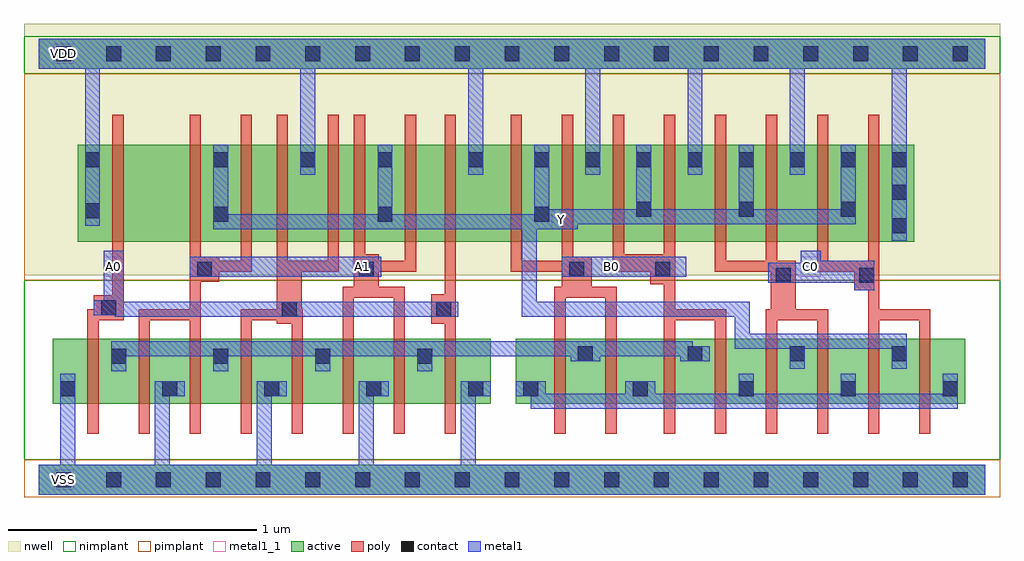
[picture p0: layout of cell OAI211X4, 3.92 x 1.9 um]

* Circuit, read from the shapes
.subckt OAI211X4 A0 A1 B0 C0 VDD VSS Y
M1 n1 A0 VSS VSS nfet w=0.26u l=0.045u m=4
M2 VSS A1 n1 VSS nfet w=0.26u l=0.045u m=4
M3 n1 B0 n2 VSS nfet w=0.26u l=0.045u m=4
M4 Y C0 n2 VSS nfet w=0.26u l=0.045u m=4
M5 n3 A0 VDD VDD pfet w=0.39u l=0.045u
M6 Y A1 n3 VDD pfet w=0.39u l=0.045u
M7 n4 A1 Y VDD pfet w=0.39u l=0.045u
M8 VDD A0 n4 VDD pfet w=0.39u l=0.045u
M9 n5 A0 VDD VDD pfet w=0.39u l=0.045u
M10 Y A1 n5 VDD pfet w=0.39u l=0.045u
M11 n6 A1 Y VDD pfet w=0.39u l=0.045u
M12 VDD A0 n6 VDD pfet w=0.39u l=0.045u
M13 Y B0 VDD VDD pfet w=0.39u l=0.045u m=4
M14 Y C0 VDD VDD pfet w=0.39u l=0.045u m=4
.ends

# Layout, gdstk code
import gdstk
lib = gdstk.Library(unit=1e-6, precision=5e-10)
def R(c, l, rs):  # rectangles x0, y0, x1, y1
    for r in rs: c.add(gdstk.rectangle(r[:2], r[2:], *l))
def A(c, l, x, y, w, h, nx, ny, dx, dy):  # array of equal rectangles
    R(c, l, [(x+i*dx, y+j*dy, x+i*dx+w, y+j*dy+h) for i in range(nx) for j in range(ny)])
def P(c, l, *ps):  # polygons
    for p in ps: c.add(gdstk.Polygon(p, *l))
active = (1, 0)
nwell = (2, 0)
poly = (3, 0)
nimplant = (4, 0)
pimplant = (5, 0)
contact = (6, 0)
metal1 = (7, 0)
metal1_1 = (7, 1)

oai211x4 = lib.new_cell('OAI211X4')
R(oai211x4, active, [(0,-0.06,3.8,0.06), (0.055,0.305,1.815,0.565), (1.915,0.305,3.72,0.565), (0.155,0.955,3.515,1.345), (0,1.65,3.8,1.77)])
R(oai211x4, nwell, [(-0.06,0.82,3.86,1.83)])
P(oai211x4, poly, [(0.295,1.465),(0.34,1.465),(0.34,0.64),(0.24,0.64),(0.24,0.185),(0.195,0.185),(0.195,0.685),(0.22,0.685),(0.22,0.74),(0.295,0.74)],
  [(0.605,1.465),(0.65,1.465),(0.65,0.895),(0.725,0.895),(0.725,0.88),(0.81,0.88),(0.81,1.465),(0.855,1.465),(0.855,0.835),(0.725,0.835),(0.725,0.795),(0.65,0.795),(0.65,0.185),(0.605,0.185),(0.605,0.64),(0.445,0.64),(0.445,0.185),(0.4,0.185),(0.4,0.685),(0.605,0.685)],
  [(0.955,1.465),(1,1.465),(1,0.88),(1.16,0.88),(1.16,1.465),(1.205,1.465),(1.205,0.835),(1.055,0.835),(1.055,0.685),(1.06,0.685),(1.06,0.185),(1.015,0.185),(1.015,0.625),(0.955,0.625),(0.955,0.64),(0.855,0.64),(0.855,0.185),(0.81,0.185),(0.81,0.685),(0.955,0.685)],
  [(1.265,1.465),(1.31,1.465),(1.31,0.905),(1.365,0.905),(1.365,0.88),(1.47,0.88),(1.47,1.465),(1.515,1.465),(1.515,0.835),(1.365,0.835),(1.365,0.775),(1.47,0.775),(1.47,0.185),(1.425,0.185),(1.425,0.73),(1.265,0.73),(1.265,0.185),(1.22,0.185),(1.22,0.775),(1.265,0.775)],
  [(1.63,1.465),(1.675,1.465),(1.675,0.185),(1.63,0.185),(1.63,0.625),(1.575,0.625),(1.575,0.745),(1.63,0.745)],
  [(1.895,1.465),(1.94,1.465),(1.94,0.88),(2.1,0.88),(2.1,1.465),(2.145,1.465),(2.145,0.895),(2.22,0.895),(2.22,0.775),(2.32,0.775),(2.32,0.185),(2.275,0.185),(2.275,0.73),(2.115,0.73),(2.115,0.185),(2.07,0.185),(2.07,0.775),(2.1,0.775),(2.1,0.835),(1.895,0.835)],
  [(2.305,1.465),(2.35,1.465),(2.35,0.905),(2.51,0.905),(2.51,1.465),(2.555,1.465),(2.555,0.685),(2.76,0.685),(2.76,0.185),(2.715,0.185),(2.715,0.64),(2.555,0.64),(2.555,0.185),(2.51,0.185),(2.51,0.785),(2.455,0.785),(2.455,0.835),(2.305,0.835)],
  [(2.715,1.465),(2.76,1.465),(2.76,0.88),(2.92,0.88),(2.92,1.465),(2.965,1.465),(2.965,0.88),(3.04,0.88),(3.04,0.685),(3.17,0.685),(3.17,0.185),(3.125,0.185),(3.125,0.64),(2.965,0.64),(2.965,0.185),(2.92,0.185),(2.92,0.685),(2.94,0.685),(2.94,0.835),(2.715,0.835)],
  [(3.125,1.465),(3.17,1.465),(3.17,0.88),(3.33,0.88),(3.33,1.465),(3.375,1.465),(3.375,0.685),(3.58,0.685),(3.58,0.185),(3.535,0.185),(3.535,0.64),(3.375,0.64),(3.375,0.185),(3.33,0.185),(3.33,0.76),(3.275,0.76),(3.275,0.835),(3.125,0.835)])
R(oai211x4, nimplant, [(-0.06,0.08,3.86,0.8), (-0.06,1.63,3.86,1.78)])
R(oai211x4, pimplant, [(-0.06,-0.07,3.86,0.08), (-0.06,0.8,3.86,1.63)])
A(oai211x4, contact, 0.07, -0.03, 0.06, 0.06, 19, 2, 0.2, 1.71)
A(oai211x4, contact, 0.085, 0.335, 0.06, 0.06, 5, 1, 0.41, 0)
A(oai211x4, contact, 2.81, 0.335, 0.06, 0.06, 3, 1, 0.41, 0)
A(oai211x4, contact, 0.29, 0.465, 0.06, 0.06, 4, 1, 0.41, 0)
A(oai211x4, contact, 2.605, 0.475, 0.06, 0.06, 3, 1, 0.41, 0)
A(oai211x4, contact, 2.4, 1.055, 0.06, 0.06, 3, 1, 0.41, 0)
A(oai211x4, contact, 1.99, 1.255, 0.06, 0.06, 8, 1, 0.205, 0)
R(oai211x4, contact, [(1.945,0.335,2.005,0.395), (2.385,0.335,2.445,0.395), (2.165,0.475,2.225,0.535), (0.975,0.655,1.035,0.715), (1.595,0.655,1.655,0.715), (0.25,0.66,0.31,0.72), (2.96,0.79,3.02,0.85), (3.295,0.79,3.355,0.85), (0.635,0.815,0.695,0.875), (1.285,0.815,1.345,0.875), (2.13,0.815,2.19,0.875), (2.475,0.815,2.535,0.875), (3.425,0.99,3.485,1.05), (0.7,1.035,0.76,1.095), (1.36,1.035,1.42,1.095), (1.99,1.035,2.05,1.095), (0.185,1.05,0.245,1.11), (3.425,1.125,3.485,1.185), (0.185,1.255,0.245,1.315), (0.7,1.255,0.76,1.315), (1.05,1.255,1.11,1.315), (1.36,1.255,1.42,1.315), (1.725,1.255,1.785,1.315)])
R(oai211x4, metal1, [(0.605,0.815,1.375,0.895), (2.1,0.815,2.6,0.895)])
P(oai211x4, metal1, [(0,1.77),(3.8,1.77),(3.8,1.65),(3.485,1.65),(3.485,0.96),(3.425,0.96),(3.425,1.65),(3.075,1.65),(3.075,1.225),(3.015,1.225),(3.015,1.65),(2.665,1.65),(2.665,1.225),(2.605,1.225),(2.605,1.65),(2.255,1.65),(2.255,1.225),(2.195,1.225),(2.195,1.65),(1.785,1.65),(1.785,1.225),(1.725,1.225),(1.725,1.65),(1.11,1.65),(1.11,1.225),(1.05,1.225),(1.05,1.65),(0.245,1.65),(0.245,1.02),(0.185,1.02),(0.185,1.65),(0,1.65)],
  [(0.7,1.345),(0.76,1.345),(0.76,1.065),(1.36,1.065),(1.36,1.345),(1.42,1.345),(1.42,1.065),(1.99,1.065),(1.99,1.345),(2.05,1.345),(2.05,1.085),(2.4,1.085),(2.4,1.345),(2.46,1.345),(2.46,1.085),(2.81,1.085),(2.81,1.345),(2.87,1.345),(2.87,1.085),(3.22,1.085),(3.22,1.345),(3.28,1.345),(3.28,1.025),(2.165,1.025),(2.165,1.005),(2,1.005),(2,0.715),(2.855,0.715),(2.855,0.585),(3.485,0.585),(3.485,0.445),(3.425,0.445),(3.425,0.525),(3.075,0.525),(3.075,0.445),(3.015,0.445),(3.015,0.525),(2.795,0.525),(2.795,0.655),(1.94,0.655),(1.94,1.005),(0.7,1.005)],
  [(0.26,0.92),(0.34,0.92),(0.34,0.715),(1.685,0.715),(1.685,0.655),(0.305,0.655),(0.305,0.66),(0.22,0.66),(0.22,0.72),(0.26,0.72)],
  [(3.06,0.92),(3.14,0.92),(3.14,0.88),(3.355,0.88),(3.355,0.76),(3.275,0.76),(3.275,0.79),(2.93,0.79),(2.93,0.87),(3.06,0.87)],
  [(0.29,0.555),(2.625,0.555),(2.625,0.535),(2.695,0.535),(2.695,0.475),(2.575,0.475),(2.575,0.495),(2.255,0.495),(2.255,0.475),(2.135,0.475),(2.135,0.495),(1.58,0.495),(1.58,0.435),(1.52,0.435),(1.52,0.495),(1.17,0.495),(1.17,0.435),(1.11,0.435),(1.11,0.495),(0.76,0.495),(0.76,0.435),(0.7,0.435),(0.7,0.495),(0.35,0.495),(0.35,0.435),(0.29,0.435)],
  [(0.085,0.425),(0.145,0.425),(0.145,0.06),(0.465,0.06),(0.465,0.395),(0.585,0.395),(0.585,0.335),(0.525,0.335),(0.525,0.06),(0.875,0.06),(0.875,0.395),(0.995,0.395),(0.995,0.335),(0.935,0.335),(0.935,0.06),(1.285,0.06),(1.285,0.395),(1.405,0.395),(1.405,0.335),(1.345,0.335),(1.345,0.06),(1.695,0.06),(1.695,0.395),(1.815,0.395),(1.815,0.335),(1.755,0.335),(1.755,0.06),(3.8,0.06),(3.8,-0.06),(0,-0.06),(0,0.06),(0.085,0.06)],
  [(1.915,0.395),(2.035,0.395),(2.035,0.345),(2.355,0.345),(2.355,0.395),(2.475,0.395),(2.475,0.345),(2.81,0.345),(2.81,0.425),(2.87,0.425),(2.87,0.345),(3.22,0.345),(3.22,0.425),(3.28,0.425),(3.28,0.345),(3.63,0.345),(3.63,0.425),(3.69,0.425),(3.69,0.285),(1.975,0.285),(1.975,0.335),(1.915,0.335)])
A(oai211x4, metal1_1, 0.26, 0.815, 0.08, 0.08, 3, 1, 1, 0)
R(oai211x4, metal1_1, [(0.06,-0.04,0.14,0.04), (3.06,0.815,3.14,0.895), (2.06,1.005,2.14,1.085), (0.06,1.67,0.14,1.75)])
oai211x4.add(gdstk.Label('Y', (2.1,1.045), layer=7, texttype=1))
oai211x4.add(gdstk.Label('A1', (1.3,0.855), layer=7, texttype=1))
oai211x4.add(gdstk.Label('A0', (0.3,0.855), layer=7, texttype=1))
oai211x4.add(gdstk.Label('C0', (3.1,0.855), layer=7, texttype=1))
oai211x4.add(gdstk.Label('B0', (2.3,0.855), layer=7, texttype=1))
oai211x4.add(gdstk.Label('VDD', (0.1,1.71), layer=7, texttype=1))
oai211x4.add(gdstk.Label('VSS', (0.1,0), layer=7, texttype=1))
oai211x4.add(gdstk.Label('OAI211X4', (0,0), layer=63, texttype=0))

lib.write_gds('OAI211X4.gds')
